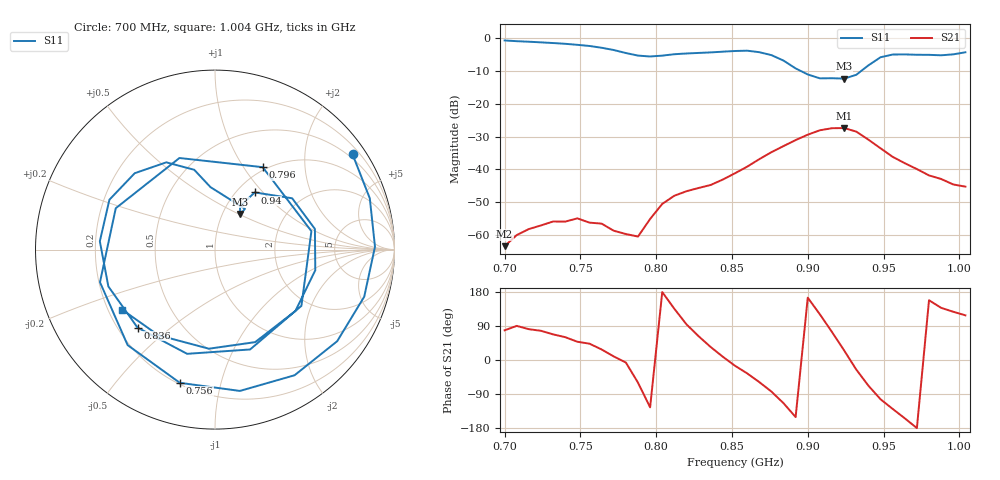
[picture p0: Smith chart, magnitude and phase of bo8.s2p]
# Hz S RI R 50
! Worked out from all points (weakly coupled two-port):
!   39 points, 700 MHz to 1.004 GHz, reference 50 ohm
!   highest |S21| = -27.37 dB at 924 MHz (marker M1); lowest = -63.5 dB at 700 MHz (marker M2)
!   lowest |S11| = -12.3 dB at 924 MHz (marker M3), VSWR 1.64, Z = 60.5 + j25.6 ohm
!   |S11| at or under -10 dB: 895.7 MHz to 935.1 MHz (39.38 MHz wide, 4.3 % of centre)
!   S12 and S22 are empty: the file has one direction only
!   S11 on the Smith chart (normalised r, x): 700 MHz: 0.39, +3.16; 756 MHz: 0.21, -0.75; 796 MHz: 0.96, +1.22; 836 MHz: 0.28, -0.39; 940 MHz: 1.20, +0.90; 1.004 GHz: 0.26, -0.28
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7e8  0.7666 0.5305  0.000136 0.000658  0 0  0 0
7.24e8  0.8314 -0.2625  0.000312 0.00136  0 0  0 0
7.4e8  0.4434 -0.7001  0.000792 0.00138  0 0  0 0
7.56e8  -0.1959 -0.7423  0.00112 0.00105  0 0  0 0
7.72e8  -0.6408 -0.1816  0.00114 0.000189  0 0  0 0
7.8e8  -0.5528 0.2305  0.00102 -0.00012  0 0  0 0
7.88e8  -0.1981 0.5103  0.000474 -0.000814  0 0  0 0
7.96e8  0.2657 0.4592  -0.000999 -0.00143  0 0  0 0
8.04e8  0.5371 0.1027  -0.00297 3.82e-05  0 0  0 0
8.12e8  0.4814 -0.3134  -0.0028 0.0028  0 0  0 0
8.2e8  0.1956 -0.5564  -0.000323 0.00463  0 0  0 0
8.36e8  -0.4318 -0.4344  0.00479 0.00325  0 0  0 0
8.52e8  -0.6416 0.0463  0.00842 -0.00229  0 0  0 0
8.76e8  -0.2715 0.4862  0.00216 -0.0182  0 0  0 0
9e8  0.1671 0.2272  -0.0327 0.00911  0 0  0 0
9.08e8  0.1436 0.1997  -0.0201 0.0341  0 0  0 0
9.24e8  0.1409 0.1987  0.0387 0.0183  0 0  0 0
9.4e8  0.2213 0.3186  0.0108 -0.0263  0 0  0 0
9.56e8  0.5566 0.115  -0.0098 -0.0121  0 0  0 0
9.72e8  0.4479 -0.342  -0.0101 -5.04e-05  0 0  0 0
9.8e8  0.2238 -0.5155  -0.00749 0.00307  0 0  0 0
1.004e9  -0.5155 -0.3358  -0.00255 0.00482  0 0  0 0
